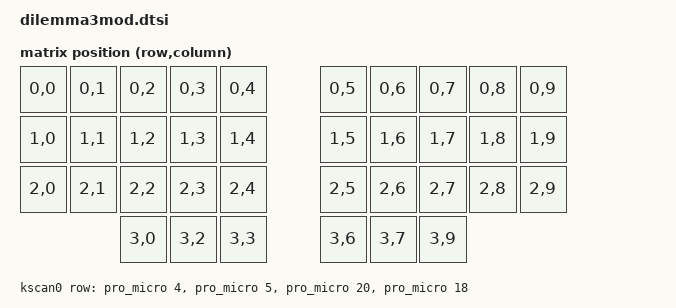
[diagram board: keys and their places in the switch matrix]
/*
 * Dilemma-3mod (https://github.com/dixls/Dilemma-3mod): 3x5 + 3 thumbs per
 * half, reversible PCB, nice!nano v2 compatible controller.
 *
 * Pins read from the KiCad PCB (same as QMK bastardkb/dilemma promicro), in
 * Pro Micro numbering:
 *   rows: D4 (4) top, C6 (5) home, F5 (20) bottom, F7 (18) thumbs
 *   cols: B4 (8), B5 (9), E6 (7), D7 (6), F6 (19), outer to inner
 * Diodes are ROW2COL. The right half lists the columns reversed.
 * Thumbs sit on columns 1, 3 and 4 (outer, middle, inner) of the thumb row.
 */

#include <dt-bindings/zmk/matrix_transform.h>

/ {
    chosen {
        zmk,kscan = &kscan0;
        zmk,matrix-transform = &default_transform;
    };

    default_transform: keymap_transform_0 {
        compatible = "zmk,matrix-transform";
        columns = <10>;
        rows = <4>;
        map = <
RC(0,0) RC(0,1) RC(0,2) RC(0,3) RC(0,4)   RC(0,5) RC(0,6) RC(0,7) RC(0,8) RC(0,9)
RC(1,0) RC(1,1) RC(1,2) RC(1,3) RC(1,4)   RC(1,5) RC(1,6) RC(1,7) RC(1,8) RC(1,9)
RC(2,0) RC(2,1) RC(2,2) RC(2,3) RC(2,4)   RC(2,5) RC(2,6) RC(2,7) RC(2,8) RC(2,9)
                RC(3,0) RC(3,2) RC(3,3)   RC(3,6) RC(3,7) RC(3,9)
        >;
    };

    kscan0: kscan {
        compatible = "zmk,kscan-gpio-matrix";
        diode-direction = "row2col";
        wakeup-source;

        row-gpios
            = <&pro_micro 4 GPIO_ACTIVE_HIGH>
            , <&pro_micro 5 GPIO_ACTIVE_HIGH>
            , <&pro_micro 20 GPIO_ACTIVE_HIGH>
            , <&pro_micro 18 GPIO_ACTIVE_HIGH>
            ;
    };
};
